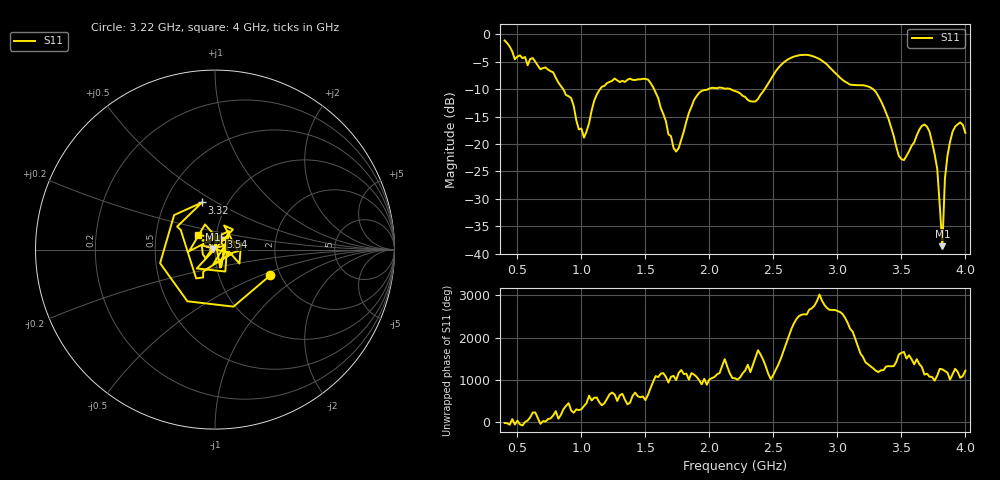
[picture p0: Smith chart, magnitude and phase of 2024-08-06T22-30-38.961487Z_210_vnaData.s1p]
!Created with skrf (http://scikit-rf.org).
# Hz S RI R 50.0
!freq ReS11 ImS11
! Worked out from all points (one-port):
!   181 points, 400 MHz to 4 GHz, reference 50 ohm
!   lowest |S11| = -38.6 dB at 3.82 GHz (marker M1), VSWR 1.02, Z = 48.9 + j0.2 ohm
!   |S11| at or under -10 dB: 857.4 MHz to 1.146 GHz (288.9 MHz wide, 28.8 % of centre); 1.567 GHz to 1.991 GHz (423.4 MHz wide, 23.8 % of centre); 3.278 GHz to end of sweep (the widest 3 of 4)
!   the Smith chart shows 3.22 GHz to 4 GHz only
!   S11 on the Smith chart (normalised r, x): 3.22 GHz: 1.77, -0.58; 3.32 GHz: 0.76, +0.43; 3.54 GHz: 1.05, +0.15; 4 GHz: 0.82, +0.14
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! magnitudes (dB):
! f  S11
! 400 MHz  -1.1
! 480 MHz  -4.6
! 860 MHz  -10.1
! 1.02 GHz  -18.8
! 1.14 GHz  -10.2
! 1.3 GHz  -8.7
! 1.52 GHz  -8.3
! 1.72 GHz  -20.7
! 1.76 GHz  -20.8
! 1.92 GHz  -10.7
! 2.2 GHz  -10.4
! 2.36 GHz  -12.2
! 2.66 GHz  -4.1
! 2.86 GHz  -4.5
! 3.1 GHz  -9.2
! 3.22 GHz  -9.4
! 3.32 GHz  -11.3
! 3.48 GHz  -22.2
! 3.54 GHz  -22.2
! 3.56 GHz  -21.3
! 3.66 GHz  -16.7
! 3.72 GHz  -17.8
! 3.78 GHz  -24.5
! 3.82 GHz  -38.6
! 3.84 GHz  -26.3
! 3.88 GHz  -19.6
! 3.96 GHz  -16.1
! 4 GHz  -18.0
